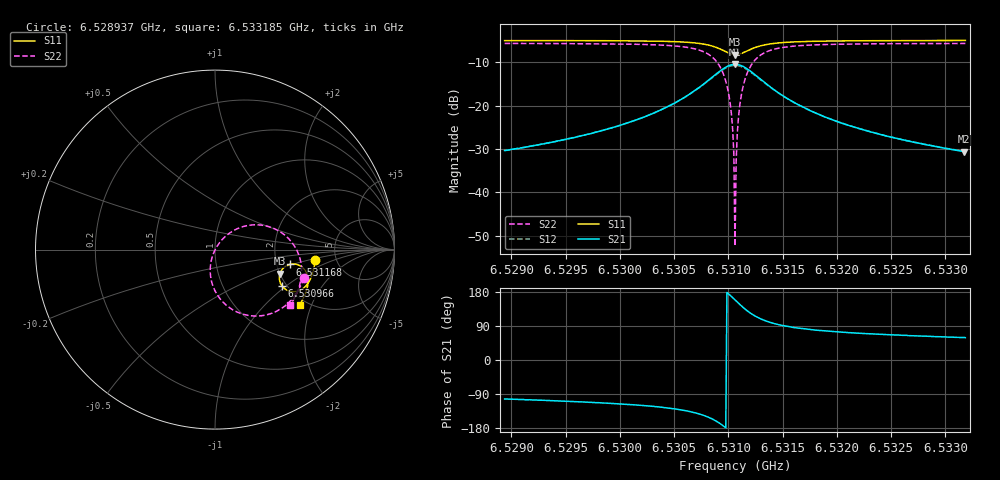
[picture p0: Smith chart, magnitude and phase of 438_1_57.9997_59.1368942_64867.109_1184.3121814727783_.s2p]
#  HZ  S  RI  R  50.00
! Rohde & Schwarz Vector Network Analyzer
! Rohde-Schwarz,ZNB20-2Port,1311601062101988,3.16
! Created: UTC 3/21/2024, 1:09:56 AM
! freq[Hz]  re:S11  im:S11  re:S21  im:S21  re:S12  im:S12  re:S22  im:S22
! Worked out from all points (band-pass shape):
!   401 points, 6.528937 GHz to 6.533185 GHz, reference 50 ohm
!   highest |S21| = -10.49 dB at 6.531061 GHz (marker M1); lowest = -30.6 dB at 6.533175 GHz (marker M2)
!   |S21| within 3 dB of the highest: 6.53085 GHz to 6.531275 GHz (425.2 kHz wide, 0.00651 % of centre)
!   lowest |S11| = -8.3 dB at 6.531061 GHz (marker M3), VSWR 2.26, Z = 100 - j31.7 ohm
!   |S11| at or under -10 dB: nowhere
!   |S22| runs from -52.4 to -5.7 dB; largest |S21 - S12| = 0.012
!   S11 on the Smith chart (normalised r, x): 6.528937 GHz: 3.46, -0.57; 6.530966 GHz: 1.89, -0.93; 6.531168 GHz: 2.35, -0.47; 6.533185 GHz: 1.82, -1.65
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6.5289374e9  0.5584 -0.0561  -0.00673 -0.0296  -0.00734 -0.0294  0.4953 -0.159
6.5296489e9  0.5483 -0.1149  -0.0158 -0.0422  -0.0168 -0.0419  0.4657 -0.2248
6.5303605e9  0.5201 -0.1844  -0.0486 -0.0724  -0.0506 -0.0711  0.3864 -0.3166
6.5307853e9  0.4508 -0.2338  -0.1537 -0.098  -0.1559 -0.092  0.1842 -0.3665
6.5308915e9  0.4072 -0.2288  -0.2216 -0.0727  -0.2209 -0.0635  0.0683 -0.3142
6.5309658e9  0.3732 -0.2023  -0.2717 -0.0157  -0.2665 -0.0063  -0.00858 -0.2104
6.5309977e9  0.363 -0.1829  -0.2851 0.0219  -0.2775 0.0301  -0.0251 -0.1457
6.5310189e9  0.3591 -0.1676  -0.2886 0.0504  -0.2796 0.0573  -0.0262 -0.098
6.5310295e9  0.3586 -0.1595  -0.2884 0.0652  -0.2789 0.0713  -0.0235 -0.0738
6.5310401e9  0.3586 -0.1513  -0.2864 0.0801  -0.2766 0.0854  -0.018 -0.0494
6.5310508e9  0.3598 -0.1429  -0.2832 0.0949  -0.2731 0.0991  -0.0103 -0.0255
6.5310614e9  0.3617 -0.1347  -0.2782 0.1093  -0.2682 0.1128  -2.25e-05 -0.00241
6.5310826e9  0.3681 -0.1195  -0.2646 0.1367  -0.2544 0.1382  0.0266 0.0402
6.5310932e9  0.3725 -0.1125  -0.2561 0.1488  -0.246 0.1497  0.0429 0.0591
6.5311145e9  0.3832 -0.1005  -0.2357 0.1702  -0.2265 0.1693  0.0796 0.091
6.5311676e9  0.4154 -0.0826  -0.1767 0.2019  -0.1705 0.199  0.1819 0.1342
6.5312419e9  0.4573 -0.0831  -0.1032 0.2042  -0.0999 0.2013  0.3063 0.1257
6.5313481e9  0.4935 -0.1053  -0.0398 0.1742  -0.0382 0.1726  0.4101 0.0609
6.5317729e9  0.5183 -0.1844  0.0151 0.0842  0.0162 0.0839  0.483 -0.1279
6.5324845e9  0.4985 -0.2561  0.0174 0.0403  0.0182 0.04  0.4553 -0.2444
6.5331748e9  0.4718 -0.3073  0.0151 0.0254  0.0158 0.0252  0.421 -0.3052
6.5331854e9  0.4713 -0.3081  0.0153 0.0254  0.0156 0.0251  0.4204 -0.3059
